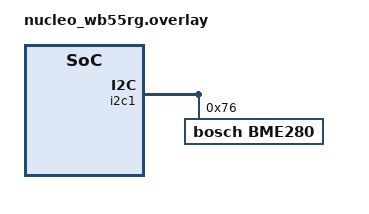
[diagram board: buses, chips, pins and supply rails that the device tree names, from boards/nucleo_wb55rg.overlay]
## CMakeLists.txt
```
cmake_minimum_required(VERSION 3.20.0)

set(BOARD nucleo_wb55rg)
set(CMAKE_EXPORT_COMPILE_COMMANDS ON)

find_package(Zephyr REQUIRED HINTS $ENV{ZEPHYR_BASE})

project(app LANGUAGES C VERSION 1.0.0)

#configure_file(app_version.h.in ${CMAKE_BINARY_DIR}/app/include/app_version.h)
target_include_directories(app PRIVATE ${CMAKE_BINARY_DIR}/app/include src)

target_sources(app PRIVATE src/main.c
                   PRIVATE src/board.c
                   PRIVATE src/sensor.c
    )
```

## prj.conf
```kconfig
# Logging

# Sensor
CONFIG_SENSOR=y

# Stacks
CONFIG_MAIN_STACK_SIZE=2048
CONFIG_BT_RX_STACK_SIZE=3192
CONFIG_BT_MESH_ADV_STACK_SIZE=2048
CONFIG_SYSTEM_WORKQUEUE_STACK_SIZE=2048


# Settings
CONFIG_SETTINGS=y
CONFIG_BT_SETTINGS=y
CONFIG_FLASH=y
CONFIG_FLASH_MAP=y
CONFIG_NVS=y
CONFIG_HWINFO=y

# GPIO
CONFIG_GPIO=y

# Bluetooth
CONFIG_BT=y
CONFIG_BT_OBSERVER=y
CONFIG_BT_BROADCASTER=y
CONFIG_BT_PERIPHERAL=y
CONFIG_BT_MESH_GATT_PROXY=y
CONFIG_BT_DEVICE_NAME="Atmospheric Sensor"
CONFIG_BT_DEBUG_LOG=y
CONFIG_BT_LOG_LEVEL_INF=y

# Bluetooth Mesh
CONFIG_BT_MESH=y
CONFIG_BT_MESH_APP_KEY_COUNT=1
CONFIG_BT_MESH_MODEL_GROUP_COUNT=3
CONFIG_BT_MESH_RELAY=n
CONFIG_BT_MESH_FRIEND=n
CONFIG_BT_MESH_GATT_PROXY=y
CONFIG_BT_MESH_BEACON_ENABLED=y
CONFIG_BT_MESH_PB_GATT=y
CONFIG_BT_MESH_TX_SEG_MSG_COUNT=3
#CONFIG_BT_MESH_PB_ADV=y

# Bluetooth Mesh Logging
CONFIG_BT_DEBUG_LOG=y
CONFIG_BT_MESH_DEBUG=y
CONFIG_BT_MESH_DEBUG_ACCESS=y
CONFIG_BT_MESH_DEBUG_MODEL=y
CONFIG_BT_MESH_DEBUG_TRANS=n
CONFIG_BT_MESH_DEBUG_NET=n
CONFIG_BT_MESH_DEBUG_CRYPTO=n

# Debugging
CONFIG_DEBUG_THREAD_INFO=y
```

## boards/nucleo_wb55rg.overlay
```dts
&i2c1 {
	status = "okay";
	bme280@76 {
		compatible = "bosch,bme280";
		reg = <0x76>;
	};
};
```

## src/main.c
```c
#include <zephyr/kernel.h>
#include <zephyr/sys/printk.h>

#include <zephyr/settings/settings.h>
#include <zephyr/drivers/hwinfo.h>

#include "mesh.h"
#include "board.h"
#include "sensor.h"



// states and state changes
static uint8_t dev_uuid[16] = { 0xef, 0xbe, 0xad, 0xde, 0x00, 0x00, 0x00, 0x00, 0x00, 0x00, 0x00, 0x00, 0x00, 0x00, 0x00, 0x00};

// Provisioning
// ================================================================
static void attention_on(struct bt_mesh_model *model)
{
	printk("attention_on()\n");
    attn_led(true);
}

static void attention_off(struct bt_mesh_model *model)
{
	printk("attention_off()\n");
    attn_led(false);
}

static const struct bt_mesh_health_srv_cb health_srv_cb = {
	.attn_on = attention_on,
	.attn_off = attention_off,
};

static int provisioning_output_pin(bt_mesh_output_action_t action, uint32_t number) {
	printk("OOB Number: %u\n", number);
	return 0;
}

static void provisioning_complete(uint16_t net_idx, uint16_t addr) {
    printk("Provisioning completed\n");
    prov_led(true);
}

static void provisioning_reset(void)
{
    printk("Provisioning reset\n");
    prov_led(false);

	bt_mesh_prov_enable(BT_MESH_PROV_ADV | BT_MESH_PROV_GATT);
}

// provisioning properties and capabilities
static const struct bt_mesh_prov prov = {
	.uuid = dev_uuid,
	.output_size = 4,
	.output_actions = BT_MESH_DISPLAY_NUMBER,
	.output_number = provisioning_output_pin,
	.complete = provisioning_complete,
	.reset = provisioning_reset,
};

// Node Composition
// ================================================================

#define CONFIG_SERVER_MODEL 0
#define HEALTH_SERVER_MODEL 1
#define SENSOR_SERVER_MODEL 2
#define SENSOR_SETUP_SERVER_MODEL 3

static struct bt_mesh_model sig_models[];

// Health Server
// ========
BT_MESH_HEALTH_PUB_DEFINE(health_pub, 0);
static struct bt_mesh_health_srv health_srv = {
    .cb = &health_srv_cb,
};

// Sensor Server
// ========

// sensor server states
// NB: "The Sensor Cadence state may be not supported by sensors based on device properties referencing
//      non- scalar characteristics such as histograms or composite characteristics"
//
// note that the sensor state is split across the two models, Sensor Server and Sensor Setup Server
//
// all we want to do is to publish an unsolicited Sensor Status message whenever the connected occupancy sensor reports an event
//
// we might implement GET which requires the same status message as a response
static uint8_t sensor_descriptor;

/*
* Sensor data has to be marshalled using the rules specified in 4.2.14 of the mesh models specification
*    MPID - Marshalling Property ID
*      1-bit Format field 
*        Format A - 0b0 - a 4-bit Length field and an 11-bit Property ID field
*        Format B - 0b1 - a 7-bit Length field and a 16-bit Property ID field
*      4-bit or 7-bit Length of the Property Value field
*      11-bit or 16-bit Property ID
*    Raw Value
*      Raw Value field with a size and representation defined by the device property.
*/

/*
* Three mesh properties are included in status messages for this sensor:
*  Present Ambient Temperature property [0x004F] (Temperature 8 characteristic)
*    The Temperature 8 characteristic is used to represent a measure of temperature with a unit of 0.5 degree Celsius.
*    sint8
*    Unit is degree Celsius with a resolution of 0.5.
*    Minimum: -64.0
*    Maximum: 63.0
*    MPID=0b0_0001_000_0100_1111 (2 octets)
*    MPID=0b1_0000001_0000_0000_0100_1111 (2 octets)
*
*  Present Ambient Relative Humidity device property [0x0076] (Humidity characteristic)
*    The Humidity characteristic is a fixed-length structure containing a single Humidity field.
*    uint16
*    Unit is in percent with a resolution of 0.01 percent.
*    Allowed range is: 0.00 to 100.00
*    MPID=0b0_0010_000_0111_0110 (2 octets)
*    MPID=0b1_0000010_0000_0000_0111_0110 (2 octets)
*  
*  Air Pressure device property [0x0082] (Pressure characteristic)
*    The Pressure characteristic is used to represent pressure.
*    uint32
*    Unit is Pascals with a resolution of 0.1 Pa.
*    TODO: Allowed range
*    MPID=0b0_0100_000_1000_0010 (2 octets)
*    
*/

static int TEMP_VALUE_INX = 3;
static int HUMIDITY_VALUE_INX = 7;
static int PRESSURE_VALUE_INX = 9;
static int SENSOR_DATA_LEN = 9;
static uint8_t temp_press_humidity[9] = {
        // Temperature
		0x81, // MPID: 0b1_0000000 = Format B, length 1
		0x4F, // 16-bit property ID byte 1 of 2: 0b01001111 = Temperature 8 characteristic
		0x00, // 16-bit property ID byte 2 of 2: 0b00000000
		0x00, // 1 byte value
        // Humidity
		0x82, // MPID: 0b1_0000001 = Format B, length 2
		0x76, // 16-bit property ID byte 1 of 2: 0b01110110 = Humidity characteristic
		0x00, // 16-bit property ID byte 2 of 2: 0b00000000
        0xFF, // value 1 of 2
        0xFF, // value 2 of 2
        ////Pressure
        //0x20, // MPID: 0b00100000 = Format A, lenght 4
		//0x82, // 11-bit property ID (inc 3 bits from first octet): 0b01110110 = Humidity characteristic
        //0x00, // value 1 of 4
        //0x00, // value 2 of 4
        //0x00, // value 3 of 4
        //0x00, // value 4 of 4
};

// messages the model might publish
#define BT_MESH_MODEL_OP_SENSOR_STATUS BT_MESH_MODEL_OP_1(0x52)

static int update_sensor_status_pub(struct bt_mesh_model *mod);

// Sensor Server Setup
BT_MESH_MODEL_PUB_DEFINE(sensor_status_pub, update_sensor_status_pub, 16);

static int update_sensor_status_pub(struct bt_mesh_model *mod)
{
    // Fetch sensor data
    sample_sensor();

    int temp_int = (int) (sensor_readings.temp * 10);
    int press_units = (int) (sensor_readings.press * 10 * 1000);
    int humidity_units = (int) (sensor_readings.humidity * 100);

    printk("temp: %d.%1dC\tpress: %d.%1dPa\thumidity: %d.%2d\n", temp_int / 10, temp_int % 10, press_units / 10, press_units % 10, humidity_units / 100, humidity_units % 100);

    // Unit is degree Celsius with a resolution of 0.5
    int temp_units = (int) (temp_int * 2);
    temp_press_humidity[TEMP_VALUE_INX] = temp_units & 255;

    //// Unit is Pascal with a resolution of 0.1
    //temp_press_humidity[PRESSURE_VALUE_INX] = (press_units >> 24) & 255;
    //temp_press_humidity[PRESSURE_VALUE_INX+1] = (press_units >> 16) & 255;
    //temp_press_humidity[PRESSURE_VALUE_INX+2] = (press_units >> 8) & 255;
    //temp_press_humidity[PRESSURE_VALUE_INX+3] = (press_units) & 255;

    //// Unit is in percent with a resolution of 0.01 percent
    //temp_press_humidity[HUMIDITY_VALUE_INX] = (humidity_units >> 8) & 255;
    //temp_press_humidity[HUMIDITY_VALUE_INX+1] = (humidity_units) & 255;


    // Prepare pub buffer
    bt_mesh_model_msg_init(sensor_status_pub.msg, BT_MESH_MODEL_OP_SENSOR_STATUS);

    int i = 0;
    for (i=0; i < SENSOR_DATA_LEN; i++) {
        net_buf_simple_add_u8(sensor_status_pub.msg, temp_press_humidity[i]);
    }

    printk("status pub buffer\n");
    for (i=0; i < sensor_status_pub.msg->len; i++) {
        printk("%02x", sensor_status_pub.msg->data[i]);
    }
    printk("\n");

    return 0;
}

// handler functions for this model's operations. We only need handlers for those message types we might receive.
static void sensor_descriptor_get(struct bt_mesh_model *model, struct bt_mesh_msg_ctx *ctx, struct net_buf_simple *buf)
{
	printk("sensor_descriptor_get - ignoring\n");
}

static int sensor_get(struct bt_mesh_model *model, struct bt_mesh_msg_ctx *ctx, struct net_buf_simple *buffer)
{
    // Fetch sensor data
    sample_sensor();

    int temp_int = (int) (sensor_readings.temp * 10);
    int press_units = (int) (sensor_readings.press * 10 * 1000);
    int humidity_units = (int) (sensor_readings.humidity * 100);

    printk("temp: %d.%1dC\tpress: %d.%1dPa\thumidity: %d.%2d\n", temp_int / 10, temp_int % 10, press_units / 10, press_units % 10, humidity_units / 100, humidity_units % 100);

    // Unit is degree Celsius with a resolution of 0.5
    int temp_units = (int) (temp_int * 2);
    temp_press_humidity[TEMP_VALUE_INX] = temp_units & 255;

    //// Unit is Pascal with a resolution of 0.1
    //temp_press_humidity[PRESSURE_VALUE_INX] = (press_units >> 24) & 255;
    //temp_press_humidity[PRESSURE_VALUE_INX+1] = (press_units >> 16) & 255;
    //temp_press_humidity[PRESSURE_VALUE_INX+2] = (press_units >> 8) & 255;
    //temp_press_humidity[PRESSURE_VALUE_INX+3] = (press_units) & 255;

    // Unit is in percent with a resolution of 0.01 percent
    temp_press_humidity[HUMIDITY_VALUE_INX] = (humidity_units >> 8) & 255;
    temp_press_humidity[HUMIDITY_VALUE_INX+1] = (humidity_units) & 255;


    // Prepare pub buffer
	BT_MESH_MODEL_BUF_DEFINE(buf, BT_MESH_MODEL_OP_SENSOR_STATUS, SENSOR_DATA_LEN);
    bt_mesh_model_msg_init(&buf, BT_MESH_MODEL_OP_SENSOR_STATUS);

    int i = 0;
    for (i=0; i < SENSOR_DATA_LEN; i++) {
        net_buf_simple_add_u8(&buf, temp_press_humidity[i]);
    }

	int err = bt_mesh_model_send(model, ctx, &buf, NULL, NULL);
	if (err)
	{
		printk("ERROR publishing sensor status message (err %d)\n", err);
		if (err == -EADDRNOTAVAIL) {
			printk("Publish Address has not been configured\n");
		}
	}

    return 0;
}

static void sensor_column_get(struct bt_mesh_model *model, struct bt_mesh_msg_ctx *ctx, struct net_buf_simple *buf)
{
	printk("sensor_column_get - ignoring\n");
}

static void sensor_series_get(struct bt_mesh_model *model, struct bt_mesh_msg_ctx *ctx, struct net_buf_simple *buf)
{
	printk("sensor_series_get - ignoring\n");
}

// messages the model might receive
static const struct bt_mesh_model_op sensor_server_op[] = {
		{BT_MESH_MODEL_OP_2(0x82, 0x30), 0, sensor_descriptor_get},
		{BT_MESH_MODEL_OP_2(0x82, 0x31), 0, sensor_get},
		{BT_MESH_MODEL_OP_2(0x82, 0x32), 2, sensor_column_get},
		{BT_MESH_MODEL_OP_2(0x82, 0x33), 2, sensor_series_get},
		BT_MESH_MODEL_OP_END,
};

struct sensor_setting_t
{
	uint16_t sensor_property_id;
	uint16_t sensor_setting_property_id;
	uint8_t sensor_setting_access;
	uint8_t *sensor_raw;
};

static struct sensor_setting_t sensor_setting;

// handler functions for this model's operations. We only need handlers for those message types we might receive.
// we're not supporting the sensor cadence state so no handlers are required and any such messages will be ignored, per the spec (3.7.4.4).
static void sensor_settings_get(struct bt_mesh_model *model, struct bt_mesh_msg_ctx *ctx, struct net_buf_simple *buf)
{
	printk("sensor_settings_get - ignoring\n");
}

static void sensor_setting_get(struct bt_mesh_model *model, struct bt_mesh_msg_ctx *ctx, struct net_buf_simple *buf)
{
	printk("sensor_setting_get - ignoring\n");
}

static void sensor_setting_set(struct bt_mesh_model *model, struct bt_mesh_msg_ctx *ctx, struct net_buf_simple *buf)
{
	printk("sensor_setting_set - ignoring\n");
}

static void sensor_setting_set_unack(struct bt_mesh_model *model, struct bt_mesh_msg_ctx *ctx, struct net_buf_simple *buf)
{
	printk("sensor_setting_set_unack - ignoring\n");
}

// operations supported by this model
static const struct bt_mesh_model_op sensor_setup_server_op[] = {
		{BT_MESH_MODEL_OP_2(0x82, 0x35), 2, sensor_settings_get},
		{BT_MESH_MODEL_OP_2(0x82, 0x36), 2, sensor_setting_get},
		{BT_MESH_MODEL_OP_1(0x59), 2, sensor_setting_set},
		{BT_MESH_MODEL_OP_1(0x5A), 2, sensor_setting_set_unack},
		BT_MESH_MODEL_OP_END,
};

// SIG models for the first element
static struct bt_mesh_model sig_models[] = {
    BT_MESH_MODEL_CFG_SRV,
    BT_MESH_MODEL_HEALTH_SRV(&health_srv, &health_pub),
    BT_MESH_MODEL(BT_MESH_MODEL_ID_SENSOR_SRV, sensor_server_op, &sensor_status_pub, NULL),
    BT_MESH_MODEL(BT_MESH_MODEL_ID_SENSOR_SETUP_SRV, sensor_setup_server_op, NULL, NULL),
};

// First element
static struct bt_mesh_elem elements[] = {
    BT_MESH_ELEM(0, sig_models, BT_MESH_MODEL_NONE),
};

// Node composition
static struct bt_mesh_comp comp = {
    .cid = 0xFFFF,
    .elem = elements,
    .elem_count = ARRAY_SIZE(elements),
};

/**
 * mesh_reset_work(): reset mesh state and begin advertising
 * @work: ignored
 *
 */
void mesh_reset_work(struct k_work *work)
{
    bt_mesh_reset();
	printk("Mesh state is reset!\n");

	printk("Begin advertising!\n");
	bt_mesh_prov_enable(BT_MESH_PROV_ADV | BT_MESH_PROV_GATT);
}

/**
 * bt_ready(): Callback for bt_mesh_init
 * @err: [TODO:description]
 *
 * [TODO:description]
 */
static void bt_ready(int err)
{
    if (err) {
        printk("bt_enable init failed with err %d\n", err);
        return;
    }
    printk("Bluetooth initialized OK\n");

	if (IS_ENABLED(CONFIG_HWINFO)) {
		err = hwinfo_get_device_id(dev_uuid, sizeof(dev_uuid));
        if (err) {
            printk("hwinfo_get_device_id failed with err %d\n", err);
        }
	}

    printk("\n%02X%02X%02X%02X-%02X%02X-%02X%02X-%02X%02X-%02X%02X%02X%02X%02X%02X\n\n",
            dev_uuid[15], dev_uuid[14], dev_uuid[13], dev_uuid[12],dev_uuid[11], dev_uuid[10], dev_uuid[9], dev_uuid[8],
            dev_uuid[7], dev_uuid[6], dev_uuid[5], dev_uuid[4],dev_uuid[3], dev_uuid[2], dev_uuid[1], dev_uuid[0]);


    err = bt_mesh_init(&prov, &comp);

	if (err)
	{
		printk("bt_mesh_init failed with err %d\n", err);
		return;
	}

	printk("Mesh initialised OK: first element address: 0x%04x\n",elements[0].addr);

	if (IS_ENABLED(CONFIG_SETTINGS)) {
		settings_load();
	    printk("Settings loaded\n");
	}

    if (!bt_mesh_is_provisioned()) {
    	printk("Node has not been provisioned - beaconing\n");
		bt_mesh_prov_enable(BT_MESH_PROV_ADV | BT_MESH_PROV_GATT);
        prov_led(false);
	} else {
    	printk("Node has already been provisioned\n");
	    printk("Node unicast address: 0x%04x\n",elements[0].addr);
        prov_led(true);
	}

}

void main(void)
{
    int err;
    printk("\nBluetooth Mesh Atmospheric Sensor Node\n\n");

    printk("calling init_leds\n");
    init_leds();

    printk("calling configure_bme280_sensor\n");
    configure_bme280_sensor();

    printk("calling button_init\n");
    err = button_init(mesh_reset_work);
    if (err)
    {
        printk("button_init failed with err %d\n", err);
        return;
    }

    printk("calling bt_enable\n");
    err = bt_enable(bt_ready);
    if (err)
    {
        printk("bt_enable failed with err %d\n", err);
        return;
    }
}
```

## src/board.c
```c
#include <zephyr/kernel.h>

#include <zephyr/devicetree.h>
#include <zephyr/device.h>
#include <zephyr/drivers/gpio.h>

#include "board.h"

// LEDs
#define ATTENTION_LED_SLEEP_MS 333

static const struct gpio_dt_spec led[] = {
    GPIO_DT_SPEC_GET(DT_NODELABEL(blue_led_1), gpios),
    GPIO_DT_SPEC_GET(DT_NODELABEL(green_led_2), gpios),
    GPIO_DT_SPEC_GET(DT_NODELABEL(green_led_3), gpios),
};

// Buttons
#define SW0 DT_ALIAS(sw0)

static const struct gpio_dt_spec sw0 = GPIO_DT_SPEC_GET(SW0, gpios);


/*
*  LEDs
*  ================================================================
*
*  States:
*  User LED 1:
*   - blinking at 1.5 HZ: attention
*  User LED 2:
*   - on when provisioned, off otherwise
*/
// User LED 1 Timer config
static void led_0_timer_handler(struct k_timer *timer_id)
{
    gpio_pin_toggle_dt(&led[0]);
}

static void led_0_stop_handler(struct k_timer *timer_id)
{
    // Ensure LED is off
    gpio_pin_set_dt(&led[0], 0);
}

K_TIMER_DEFINE(led0_timer, led_0_timer_handler, led_0_stop_handler);

/**
 * attn_led(): set state of the attention LED
 * @state: enable or disable blinking
 *
 */
void attn_led(bool state)
{
    if (state) {
        k_timer_start(&led0_timer, K_NO_WAIT, K_MSEC(ATTENTION_LED_SLEEP_MS));
    } else {
        k_timer_stop(&led0_timer);
    }
}

/**
 * prov_led(): set state of provisioning led
 * @state: enable or disable LED
 *
 */
void prov_led(bool state)
{
    gpio_pin_set_dt(&led[1], state);
}

/**
 * init_leds(): Configure LED pins
 *
 */
void init_leds()
{
    if (!(device_is_ready(led[0].port) && device_is_ready(led[1].port) && device_is_ready(led[2].port))) {
        printk("led device is not ready\n");
        return;
    }

    gpio_pin_configure_dt(&led[0], GPIO_OUTPUT_ACTIVE);
    gpio_pin_configure_dt(&led[1], GPIO_OUTPUT_ACTIVE);
    gpio_pin_configure_dt(&led[2], GPIO_OUTPUT_ACTIVE);

    gpio_pin_set_dt(&led[0], 0);
    gpio_pin_set_dt(&led[1], 0);
    gpio_pin_set_dt(&led[2], 0);
}

/*
 *  Buttons
 *  ================================================================
 */ 
static struct k_work sw0_work;


/**
 * sw0_cb(): user button 0 interrupt callback
 * 
 */
static void sw0_cb(const struct device *port, struct gpio_callback *cb, gpio_port_pins_t pins)
{
    k_work_submit(&sw0_work);
}

/**
 * button_init(): configure user buttons
 *
 * Return: err
 */
int button_init(k_work_handler_t sw0_handler)
{
    int err;

    static struct gpio_callback gpio_cb;

    err = gpio_pin_configure_dt(&sw0, GPIO_INPUT);
    if (err) {
        return err;
    }

    err = gpio_pin_interrupt_configure_dt(&sw0, GPIO_INT_EDGE_TO_ACTIVE);
    if (err) {
        return err;
    }

    k_work_init(&sw0_work, sw0_handler);

    gpio_init_callback(&gpio_cb, sw0_cb, BIT(sw0.pin));
    gpio_add_callback(sw0.port, &gpio_cb);

    return 0;
}
```

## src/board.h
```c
#ifndef _BOARD_H
#define _BOARD_H

#include <zephyr/kernel.h>

void init_leds(void);
int button_init(k_work_handler_t sw0_handler);
void attn_led(bool state);
void prov_led(bool state);

#endif
```

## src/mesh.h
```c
#ifndef _MESH_H
#define _MESH_H

#include <zephyr/bluetooth/bluetooth.h>
#include <zephyr/bluetooth/mesh.h>

#endif
```

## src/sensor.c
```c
#include <zephyr/device.h>
#include <zephyr/drivers/sensor.h>

#include "sensor.h"


const struct device *sensor;

struct bme280_measurements sensor_readings;

static const struct device *get_bme280_device(void)
{
	const struct device *const dev = DEVICE_DT_GET_ANY(bosch_bme280);

	if (dev == NULL) {
		/* No such node, or the node does not have status "okay". */
		printk("\nError: no device found.\n");

		return NULL;
	}

	if (!device_is_ready(dev)) {
		printk("\nError: Device \"%s\" is not ready; "
		       "check the driver initialization logs for errors.\n",
		       dev->name);
		return NULL;
	}

	printk("Found device \"%s\", getting sensor data\n", dev->name);

	return dev;
}

void sample_sensor()
{
    int err;
    struct sensor_value temp, press, humidity;

    err = sensor_sample_fetch(sensor);
    if (err < 0) {
        printk("sensor_sample_fetch failed with err %d\n", err);
    }

    err = sensor_channel_get(sensor, SENSOR_CHAN_AMBIENT_TEMP, &temp);
    if (err < 0) {
        printk("sensor_channel_get SENSOR_CHAN_AMBIENT_TEMP failed with err %d\n", err);
    }

    err = sensor_channel_get(sensor, SENSOR_CHAN_PRESS, &press);
    if (err < 0) {
        printk("sensor_channel_get SENSOR_CHAN_PRESS failed with err %d\n", err);
    }

    err = sensor_channel_get(sensor, SENSOR_CHAN_HUMIDITY, &humidity);
    if (err < 0) {
        printk("sensor_channel_get SENSOR_CHAN_HUMIDITY failed with err %d\n", err);
    }

    sensor_readings.temp = sensor_value_to_double(&temp);
    sensor_readings.press = sensor_value_to_double(&press);
    sensor_readings.humidity = sensor_value_to_double(&humidity);

    printk("temp: %d.%06d; press: %d.%06d; humidity: %d.%06d\n",
            temp.val1, temp.val2, press.val1, press.val2,
            humidity.val1, humidity.val2);

}

void configure_bme280_sensor()
{
    sensor = get_bme280_device();
    if (sensor == NULL) {
        return;
    }

    printk("bme280 configured and ready\n");
}
```

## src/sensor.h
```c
#ifndef _BME280_SENSOR_H
#define _BME280_SENSOR_H

struct bme280_measurements {
    double temp;
    double press;
    double humidity;
};

extern struct bme280_measurements sensor_readings;

void sample_sensor();
void configure_bme280_sensor();
#endif
```
